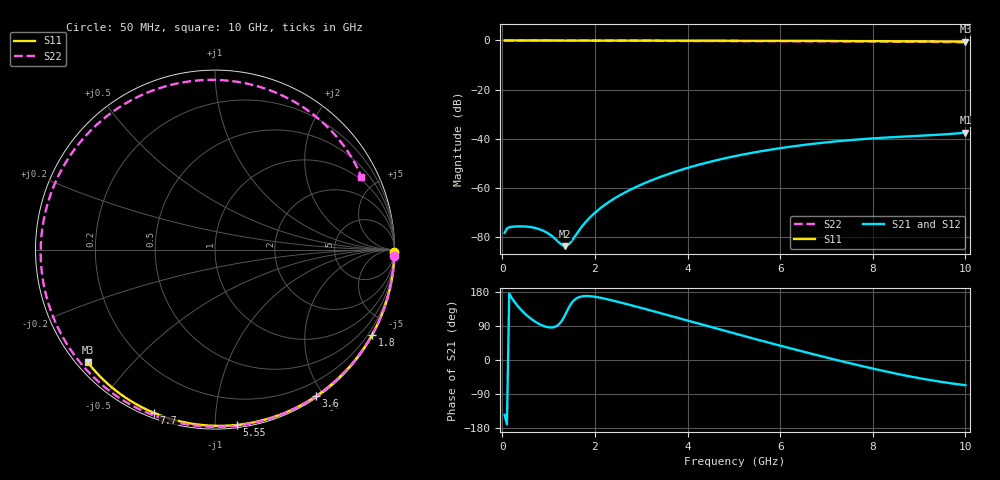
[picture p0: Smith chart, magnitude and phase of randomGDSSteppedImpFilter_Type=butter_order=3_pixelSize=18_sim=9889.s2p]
! freq	dB(S11)	phase(S11)	dB(S12)	phase(S12)
!  dB(S21)	phase(S21)	dB(S22)	phase(S22)
!S-par simulation data
#  GHz  S  DB  R 50
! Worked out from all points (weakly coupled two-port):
!   200 points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, 50 MHz to 10 GHz, reference 50 ohm
!   highest |S21| = -37.59 dB at 10 GHz (marker M1); lowest = -83.9 dB at 1.35 GHz (marker M2)
!   lowest |S11| = -0.5 dB at 10 GHz (marker M3), VSWR 36.96, Z = 1.55 - j18.9 ohm
!   |S11| at or under -10 dB: nowhere
!   |S22| runs from -0.8 to 0.0 dB; largest |S21 - S12| = 0
!   S11 on the Smith chart (normalised r, x): 50 MHz: open; 1.8 GHz: 0.03, -3.95; 3.6 GHz: 0.02, -1.90; 5.55 GHz: 0.02, -1.13; 7.7 GHz: 0.02, -0.69; 10 GHz: 0.03, -0.38
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0.05  -0.00 -0.8  -78.48 -144.8  -78.48 -144.8  -0.00 -1.9
0.15  -0.00 -2.4  -76.19 175.6  -76.19 175.6  -0.00 -5.7
0.5  -0.01 -8.0  -75.87 121.1  -75.87 121.1  -0.02 -18.9
0.8  -0.01 -12.8  -76.96 94.8  -76.96 94.8  -0.03 -30.0
1.1  -0.02 -17.5  -80.20 86.3  -80.20 86.3  -0.05 -41.0
1.35  -0.03 -21.4  -83.89 117.3  -83.89 117.3  -0.06 -49.9
1.55  -0.03 -24.5  -80.37 157.7  -80.37 157.7  -0.07 -57.0
1.75  -0.04 -27.7  -75.16 168.4  -75.16 168.4  -0.08 -63.9
1.8  -0.04 -28.4  -74.05 168.8  -74.05 168.8  -0.08 -65.6
2.45  -0.05 -38.4  -64.10 154.9  -64.10 154.9  -0.10 -87.2
3.4  -0.07 -52.6  -55.74 124.2  -55.74 124.2  -0.14 -116.5
3.6  -0.07 -55.5  -54.39 117.6  -54.39 117.6  -0.15 -122.4
4.35  -0.09 -66.3  -50.14 92.4  -50.14 92.4  -0.18 -143.9
5.05  -0.12 -76.0  -47.07 68.9  -47.07 68.9  -0.22 -163.4
5.55  -0.14 -82.8  -45.29 52.4  -45.29 52.4  -0.25 -177.3
6.7  -0.19 -97.9  -42.18 15.8  -42.18 15.8  -0.33 149.9
7.7  -0.25 -110.5  -40.35 -14.2  -40.35 -14.2  -0.41 118.9
8.35  -0.30 -118.6  -39.53 -32.1  -39.53 -32.1  -0.47 96.7
8.8  -0.34 -124.0  -39.08 -43.3  -39.08 -43.3  -0.52 80.0
9.2  -0.38 -128.9  -38.69 -52.2  -38.69 -52.2  -0.58 63.9
9.6  -0.42 -133.7  -38.23 -59.9  -38.23 -59.9  -0.66 46.4
10  -0.47 -138.5  -37.59 -66.5  -37.59 -66.5  -0.81 26.5
